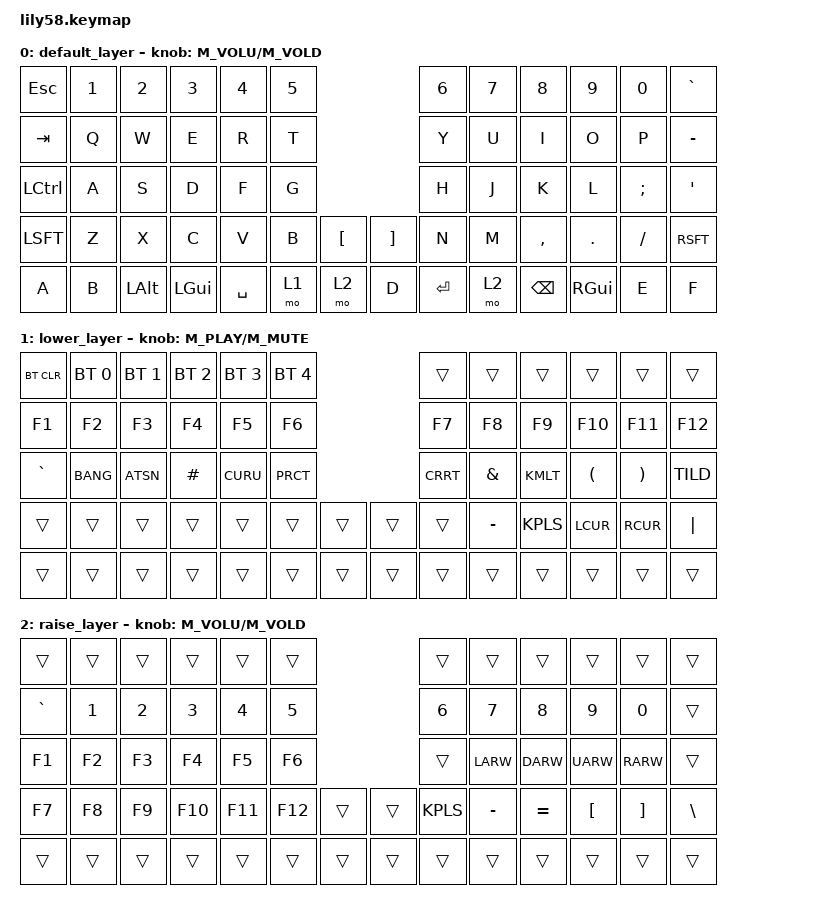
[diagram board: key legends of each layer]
/*
 * Copyright (c) 2020 The ZMK Contributors
 *
 * SPDX-License-Identifier: MIT
 */

#include <behaviors.dtsi>
#include <dt-bindings/zmk/keys.h>
#include <dt-bindings/zmk/bt.h>
#include <dt-bindings/zmk/ext_power.h>

/ {
	keymap {
		compatible = "zmk,keymap";

		default_layer {
// ------------------------------------------------------------------------------------------------------------
// |  ESC  |  1  |  2  |  3   |  4   |  5   |                   |  6   |  7    |  8    |  9   |   0   |   `   |
// |  TAB  |  Q  |  W  |  E   |  R   |  T   |                   |  Y   |  U    |  I    |  O   |   P   |   -   |
// |  CTRL |  A  |  S  |  D   |  F   |  G   |                   |  H   |  J    |  K    |  L   |   ;   |   '   |
// | SHIFT |  Z  |  X  |  C   |  V   |  B   |   "["  |  |  "]"  |  N   |  M    |  ,    |  .   |   /   | SHIFT |
//                     | ALT  | GUI  | LOWER|  SPACE |  | ENTER | RAISE| BSPC  | GUI   |
			bindings = <
&kp ESC  &kp NUM_1 &kp NUM_2 &kp NUM_3 &kp NUM_4 &kp NUM_5                    &kp NUM_6 &kp NUM_7 &kp NUM_8 &kp NUM_9 &kp NUM_0 &kp GRAV
&kp TAB  &kp Q     &kp W     &kp E     &kp R     &kp T                        &kp Y     &kp U     &kp I     &kp O     &kp P     &kp MINUS
&kp LCTL &kp A     &kp S     &kp D     &kp F     &kp G                        &kp H     &kp J     &kp K     &kp L     &kp SCLN  &kp QUOT
&kp LSFT &kp Z     &kp X     &kp C     &kp V     &kp B   &kp LBKT  &kp RBKT   &kp N     &kp M     &kp CMMA  &kp DOT   &kp FSLH  &kp RSFT
&kp A    &kp B     &kp LALT  &kp LGUI  &kp SPC   &mo 1   &mo 2     &kp D      &kp RET   &mo 2     &kp BKSP  &kp RGUI  &kp E     &kp F
			>;

			sensor-bindings = <&inc_dec_cp M_VOLU M_VOLD>;
		};

		lower_layer {
// ------------------------------------------------------------------------------------------------------------
// | BTCLR | BT1 | BT2 |  BT3 |  BT4 |  BT5 |                   |      |       |       |      |       |       |
// |  F1   |  F2 |  F3 |  F4  |  F5  |  F6  |                   |  F7  |  F8   |  F9   |  F10 |  F11  |  F12  |
// |   `   |  !  |  @  |  #   |  $   |  %   |                   |  ^   |  &    |  *    |  (   |   )   |   ~   |
// |       |     |     |      |      |      |        |  |       |      |  _    |  +    |  {   |   }   |  "|"  |
//                     |      |      |      |        |  |       |      |       |       |
			bindings = <
&bt BT_CLR &bt BT_SEL 0 &bt BT_SEL 1 &bt BT_SEL 2 &bt BT_SEL 3 &bt BT_SEL 4                 &trans    &trans    &trans    &trans    &trans    &trans
&kp F1     &kp F2       &kp F3       &kp F4       &kp F5       &kp F6                       &kp F7    &kp F8    &kp F9    &kp F10   &kp F11   &kp F12
&kp GRAV   &kp BANG     &kp ATSN     &kp HASH     &kp CURU     &kp PRCT                     &kp CRRT  &kp AMPS  &kp KMLT  &kp LPRN  &kp RPRN  &kp TILD
&trans     &trans       &trans       &trans       &trans       &trans    &trans   &trans    &trans    &kp MINUS &kp KPLS  &kp LCUR  &kp RCUR  &kp PIPE
&trans     &trans       &trans       &trans       &trans       &trans    &trans   &trans    &trans    &trans    &trans    &trans    &trans    &trans
			>;

			sensor-bindings = <&inc_dec_cp M_PLAY M_MUTE>;
		};

		raise_layer {
// ------------------------------------------------------------------------------------------------------------
// |       |     |     |      |      |      |                   |      |       |       |      |       |       |
// |   `   |  1  |  2  |  3   |  4   |  5   |                   |  6   |   7   |   8   |  9   |   0   |       |
// |   F1  |  F2 |  F3 |  F4  |  F5  |  F6  |                   |      |   <-  |   ^   |  v   |  ->   |       |
// |   F7  |  F8 |  F9 |  F10 |  F11 |  F12 |        |  |       |  +   |   -   |   =   |  [   |   ]   |   \   |
//                     |      |      |      |        |  |       |      |       |       |
			bindings = <
&trans   &trans    &trans    &trans    &trans    &trans                       &trans    &trans    &trans    &trans    &trans    &trans
&kp GRAV &kp NUM_1 &kp NUM_2 &kp NUM_3 &kp NUM_4 &kp NUM_5                    &kp NUM_6 &kp NUM_7 &kp NUM_8 &kp NUM_9 &kp NUM_0 &trans
&kp F1   &kp F2    &kp F3    &kp F4    &kp F5    &kp F6                       &trans    &kp LARW  &kp DARW  &kp UARW  &kp RARW  &trans
&kp F7   &kp F8    &kp F9    &kp F10   &kp F11   &kp F12   &trans   &trans    &kp KPLS  &kp MINUS &kp EQL   &kp LBKT  &kp RBKT  &kp BSLH
&trans   &trans    &trans    &trans    &trans    &trans    &trans   &trans    &trans    &trans    &trans    &trans    &trans    &trans
			>;

			sensor-bindings = <&inc_dec_cp M_VOLU M_VOLD>;
		};
	};
};
